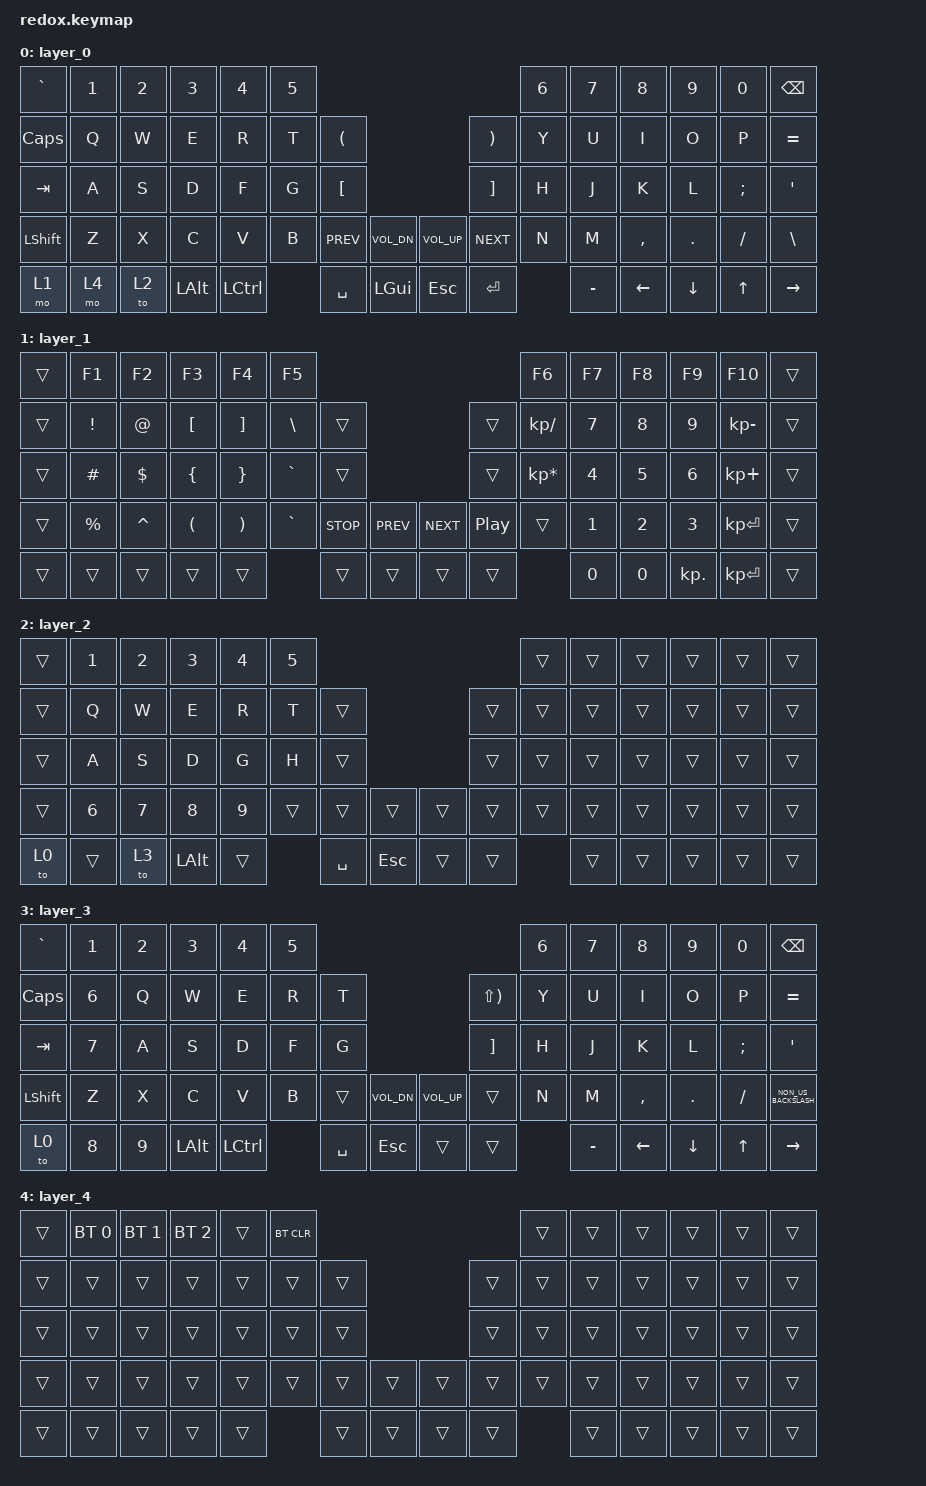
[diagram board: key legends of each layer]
/*
 * Copyright (c) 2021 The ZMK Contributors
 *
 * SPDX-License-Identifier: MIT
 */

#include <behaviors.dtsi>
#include <dt-bindings/zmk/bt.h>
#include <dt-bindings/zmk/keys.h>

&led_strip { chain-length = <10>; };

/ {
    keymap {
        compatible = "zmk,keymap";

        layer_0 {
            bindings = <
&kp GRAVE   &kp N1  &kp N2  &kp N3    &kp N4     &kp N5                                                                             &kp N6  &kp N7     &kp N8     &kp N9    &kp N0     &kp BSPC
&kp CAPS    &kp Q   &kp W   &kp E     &kp R      &kp T   &kp LEFT_PARENTHESIS                                &kp RIGHT_PARENTHESIS  &kp Y   &kp U      &kp I      &kp O     &kp P      &kp EQUAL
&kp TAB     &kp A   &kp S   &kp D     &kp F      &kp G   &kp LEFT_BRACKET                                    &kp RBKT               &kp H   &kp J      &kp K      &kp L     &kp SEMI   &kp SQT
&kp LSHIFT  &kp Z   &kp X   &kp C     &kp V      &kp B   &kp C_PREV            &kp C_VOL_DN    &kp C_VOL_UP  &kp C_NEXT             &kp N   &kp M      &kp COMMA  &kp DOT   &kp SLASH  &kp BSLH
&mo 1       &mo 4   &to 2   &kp LALT  &kp LCTRL          &kp SPACE             &kp LGUI        &kp ESC       &kp RET                        &kp MINUS  &kp LEFT   &kp DOWN  &kp UP     &kp RIGHT
            >;
        };

        layer_1 {
            bindings = <
&trans  &kp F1     &kp F2     &kp F3                &kp F4             &kp F5                                                     &kp F6           &kp F7  &kp F8  &kp F9      &kp F10       &trans
&trans  &kp EXCL   &kp AT     &kp LBKT              &kp RIGHT_BRACKET  &kp BSLH   &trans                                &trans    &kp KP_SLASH     &kp N7  &kp N8  &kp N9      &kp KP_MINUS  &trans
&trans  &kp HASH   &kp DLLR   &kp LBRC              &kp RIGHT_BRACE    &kp GRAVE  &trans                                &trans    &kp KP_ASTERISK  &kp N4  &kp N5  &kp N6      &kp KP_PLUS   &trans
&trans  &kp PRCNT  &kp CARET  &kp LEFT_PARENTHESIS  &kp RPAR           &kp GRAVE  &kp C_STOP  &kp C_PREV    &kp C_NEXT  &kp C_PP  &trans           &kp N1  &kp N2  &kp N3      &kp KP_ENTER  &trans
&trans  &trans     &trans     &trans                &trans                        &trans      &trans        &trans      &trans                     &kp N0  &kp N0  &kp KP_DOT  &kp KP_ENTER  &trans
            >;
        };

        layer_2 {
            bindings = <
&trans  &kp N1  &kp N2  &kp N3    &kp N4  &kp N5                                        &trans  &trans  &trans  &trans  &trans  &trans
&trans  &kp Q   &kp W   &kp E     &kp R   &kp T   &trans                        &trans  &trans  &trans  &trans  &trans  &trans  &trans
&trans  &kp A   &kp S   &kp D     &kp G   &kp H   &trans                        &trans  &trans  &trans  &trans  &trans  &trans  &trans
&trans  &kp N6  &kp N7  &kp N8    &kp N9  &trans  &trans     &trans     &trans  &trans  &trans  &trans  &trans  &trans  &trans  &trans
&to 0   &trans  &to 3   &kp LALT  &trans          &kp SPACE  &kp ESC    &trans  &trans          &trans  &trans  &trans  &trans  &trans
            >;
        };

        layer_3 {
            bindings = <
&kp GRAVE  &kp N1        &kp N2        &kp N3        &kp N4     &kp N5                                                              &kp N6  &kp N7     &kp N8     &kp N9    &kp N0         &kp BSPC
&kp CAPS   &kp NUMBER_6  &kp Q         &kp W         &kp E      &kp R   &kp T                                    &kp LS(RPAR)       &kp Y   &kp U      &kp I      &kp O     &kp P          &kp EQUAL
&kp TAB    &kp NUMBER_7  &kp A         &kp S         &kp D      &kp F   &kp G                                    &kp RIGHT_BRACKET  &kp H   &kp J      &kp K      &kp L     &kp SEMICOLON  &kp SQT
&kp LSHFT  &kp Z         &kp X         &kp C         &kp V      &kp B   &trans     &kp C_VOL_DN    &kp C_VOL_UP  &trans             &kp N   &kp M      &kp COMMA  &kp DOT   &kp SLASH      &kp NON_US_BACKSLASH
&to 0      &kp NUMBER_8  &kp NUMBER_9  &kp LEFT_ALT  &kp LCTRL          &kp SPACE  &kp ESC         &trans        &trans                     &kp MINUS  &kp LEFT   &kp DOWN  &kp UP         &kp RIGHT
            >;
        };

        layer_4 {
            bindings = <
&trans  &bt BT_SEL 0  &bt BT_SEL 1  &bt BT_SEL 2  &trans  &bt BT_CLR                                    &trans  &trans  &trans  &trans  &trans  &trans
&trans  &trans        &trans        &trans        &trans  &trans  &trans                    &trans  &trans  &trans  &trans  &trans  &trans  &trans
&trans  &trans        &trans        &trans        &trans  &trans  &trans                    &trans  &trans  &trans  &trans  &trans  &trans  &trans
&trans  &trans        &trans        &trans        &trans  &trans  &trans  &trans    &trans  &trans  &trans  &trans  &trans  &trans  &trans  &trans
&trans  &trans        &trans        &trans        &trans          &trans  &trans    &trans  &trans          &trans  &trans  &trans  &trans  &trans
            >;
        };
    };
};
